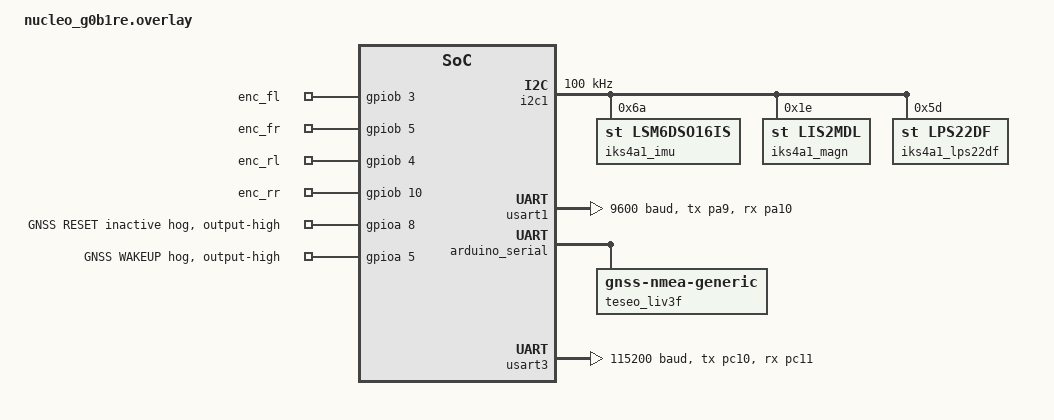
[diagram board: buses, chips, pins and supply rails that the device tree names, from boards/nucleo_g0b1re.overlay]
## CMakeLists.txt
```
cmake_minimum_required(VERSION 3.20.0)

list(APPEND ZEPHYR_EXTRA_MODULES
  ${CMAKE_CURRENT_SOURCE_DIR}/modules/micro_ros_zephyr_module/modules/libmicroros
)
find_package(Zephyr REQUIRED HINTS $ENV{ZEPHYR_BASE})
project(my_app)

zephyr_include_directories(
  ${CMAKE_BINARY_DIR}/zephyr/include/generated/zephyr
  ${CMAKE_CURRENT_SOURCE_DIR}/src
)
target_compile_definitions(app PRIVATE __STDC_WANT_LIB_EXT1__=0)

target_sources(app PRIVATE
  src/main.c
  src/RTOS.c
  src/positionManagement/Imu.c
  src/positionManagement/PositionOrientation.c
  src/DataCommunication/MicroRosNode.c
  src/DataCommunication/micro_ros_atomic64.c
  src/sensorManagement/lps22dfSensor.c
  src/speedMesurement/GlobalSpeed.c
  src/speedMesurement/rotaryEncoder.c
  src/speedControlSystem/GlobalControl.c
  src/speedControlSystem/closedLoopControl.c
  src/navigation/forwardKinematics.c
  src/navigation/mecanumOdometrie.c
)
```

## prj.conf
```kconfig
CONFIG_GPIO=y
CONFIG_SERIAL=y
CONFIG_CONSOLE=y

# Logging
CONFIG_LOG=n
CONFIG_PRINTK=y
CONFIG_BOOT_BANNER=n

CONFIG_SENSOR=y

# Configuration des capteurs de l'extension X-NUCLEO-IKS4A1
CONFIG_I2C=y
CONFIG_LSM6DSO16IS=y
CONFIG_LIS2MDL=y
CONFIG_LPS2XDF=y

# GNSS1A1 (Teseo-LIV3F, NMEA sur USART1)
CONFIG_UART_INTERRUPT_DRIVEN=y

# Sous-système GNSS Zephyr et parseur NMEA générique
CONFIG_GNSS=y
CONFIG_GNSS_NMEA_GENERIC=y

# micro-ROS Jazzy over USART3 to the ROS 2 agent on the SBC.
CONFIG_MICROROS=y
CONFIG_APP_LINK_WITH_MICROROS=y
CONFIG_MICROROS_TRANSPORT_SERIAL=y
CONFIG_MICROROS_NODES="1"
CONFIG_MICROROS_PUBLISHERS="6"
CONFIG_MICROROS_SUBSCRIBERS="1"
CONFIG_MICROROS_XRCE_DDS_MTU="512"
CONFIG_MICROROS_XRCE_DDS_HISTORIC="4"
CONFIG_MICROROS_RMW_HISTORIC="4"

CONFIG_UART_LINE_CTRL=y
CONFIG_POSIX_API=y
CONFIG_STATIC_INIT_GNU=y
```

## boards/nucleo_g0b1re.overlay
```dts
/*
 * Encodeurs rotatifs — 4 roues mecanum
 * PINS ARBITRAIRES : à adapter selon le câblage réel
 *   FL : PB3 (D3)  FR : PB5 (D4)
 *   RL : PB4 (D5)  RR : PB10 (D6)
 */
/ {
    wheel_encoders {
        compatible = "gpio-keys";
        enc_fl: encoder_fl { gpios = <&gpiob 3  (GPIO_ACTIVE_HIGH | GPIO_PULL_DOWN)>; };
        enc_fr: encoder_fr { gpios = <&gpiob 5  (GPIO_ACTIVE_HIGH | GPIO_PULL_DOWN)>; };
        enc_rl: encoder_rl { gpios = <&gpiob 4  (GPIO_ACTIVE_HIGH | GPIO_PULL_DOWN)>; };
        enc_rr: encoder_rr { gpios = <&gpiob 10 (GPIO_ACTIVE_HIGH | GPIO_PULL_DOWN)>; };
    };
};

&i2c1 {
    status = "okay";
    /* Force I2C to standard 100 kHz to avoid timing-related NACKs on some boards */
    clock-frequency = <I2C_BITRATE_STANDARD>;

    iks4a1_imu: lsm6dso16is@6a {
        compatible = "st,lsm6dso16is";
        reg = <0x6a>;
        accel-odr = <0x04>;
        gyro-odr = <0x04>;
    };

    iks4a1_magn: lis2mdl@1e {
        compatible = "st,lis2mdl";
        reg = <0x1e>;
    };

    iks4a1_lps22df: lps22df@5d {
        compatible = "st,lps22df";
        reg = <0x5d>;
        odr = <1>;
    };
};

/*
 * GNSS1A1 : cavaliers d'usine J3/J4, donc UART sur D8/D2 (PA9/PA10).
 */
&usart1 {
    pinctrl-0 = <&usart1_tx_pa9 &usart1_rx_pa10>;
    pinctrl-names = "default";
    current-speed = <9600>;
    parity = "none";
    stop-bits = "1";
    data-bits = <8>;
    status = "okay";
};

&arduino_serial {
    teseo_liv3f: gnss-nmea-generic {
        compatible = "gnss-nmea-generic";
        status = "okay";
    };
};

/*
 * Liaison micro-ROS vers l'agent ROS 2 sur le SBC Linux, via USART3.
 * Les broches PC10/PC11 doivent être raccordées au SBC (TX vers RX, RX vers TX).
 */
&usart3 {
    pinctrl-0 = <&usart3_tx_pc10 &usart3_rx_pc11>;
    pinctrl-names = "default";
    current-speed = <115200>;
    parity = "none";
    stop-bits = "1";
    data-bits = <8>;
    status = "okay";
};

/* D13/PA5 est aussi l'horloge SPI1 sur cette Nucleo : le GNSS utilise D13 pour WAKEUP. */
&spi1 {
    status = "disabled";
};

/*
 * Cavaliers GNSS1A1 par défaut : RESET sur D7 (PA8, actif bas) et WAKEUP
 * sur D13 (PA5, actif haut). D13 partage PA5 avec la LED utilisateur LD4.
 */
&gpioa {
    gnss_reset_inactive: gnss-reset-inactive {
        gpio-hog;
        gpios = <8 GPIO_ACTIVE_HIGH>;
        output-high;
        line-name = "GNSS RESET inactive";
    };

    gnss_wakeup: gnss-wakeup {
        gpio-hog;
        gpios = <5 GPIO_ACTIVE_HIGH>;
        output-high;
        line-name = "GNSS WAKEUP";
    };
};
```

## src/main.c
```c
#include <zephyr/kernel.h>
#include <zephyr/logging/log.h>

LOG_MODULE_REGISTER(g0b1re, LOG_LEVEL_INF);

int main(void)
{
    LOG_INF("Booting Zephyr OS\n");

    // if (!gpio_is_ready_dt(&led)) {
    //     LOG_ERR("LED GPIO device not ready (devicetree node?)");
    //     return -1;
    // }

    // int rc = gpio_pin_configure_dt(&led, GPIO_OUTPUT_INACTIVE);
    // LOG_INF("gpio_pin_configure_dt -> %d", rc);
    // if (rc != 0) {
    //     LOG_ERR("Failed to configure LED pin");
    //     return -1;
    // }

    // gpio_is_ready_dt(&led);
    // gpio_pin_configure_dt(&led, GPIO_OUTPUT_INACTIVE);

    // k_thread_start(task1_id);
    // k_thread_start(task2_id);
    // k_thread_start(bme_id);

    return 0;
}
```

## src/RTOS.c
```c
#include <zephyr/kernel.h>
#include <zephyr/logging/log.h>
#include <zephyr/drivers/gnss.h>
#include <zephyr/device.h>
#include <zephyr/sys/printk.h>
#include <string.h>
#include "RTOS.h"
#include "positionManagement/PositionOrientation.h"
#include "sensorManagement/lps22dfSensor.h"
#include "speedMesurement/GlobalSpeed.h"
#include "speedControlSystem/GlobalControl.h"
#include "navigation/forwardKinematics.h"
#include "navigation/mecanumOdometrie.h"
#include "DataCommunication/MicroRosNode.h"

LOG_MODULE_DECLARE(g0b1re, LOG_LEVEL_INF);

/* Vitesses mesurées partagées entre speedMesurementTask et MotorRegulationTask */
static K_MUTEX_DEFINE(speed_mutex);
static float fMesuredWheelSpeed[4] = {0.0f, 0.0f, 0.0f, 0.0f};

/* Dernière commande Twist reçue par micro-ROS, partagée avec la régulation. */
static K_MUTEX_DEFINE(gnss_data_mutex);
static struct gnss_data latest_gnss_sample;
static bool gnss_sample_available;

static void gnss_debug_print_latest(void);

/* ── Robot communication task ───────────────────────────────────────── */
void RobotCommunicationTask(void *p1, void *p2, void *p3)
{
    ARG_UNUSED(p1);
    ARG_UNUSED(p2);
    ARG_UNUSED(p3);

    MicroRosNode_run();
}

/* ── Régulation moteur (20 Hz) ──────────────────────────────────────── */
void MotorRegulationTask(void *p1, void *p2, void *p3)
{
    static GlobalControl       tGlobalControl;
    static forwardKinematics_t tForwardKinematics;
    static MecanumOdometry_t   tOdometry;

    GlobalControl_init(&tGlobalControl);

    tForwardKinematics.vx            = 0;
    tForwardKinematics.vy            = 0;
    tForwardKinematics.omega         = 0;
    tForwardKinematics.geometricFactor = 1.0f; /* à ajuster : (L+W)/2 en unités normalisées */

    MecanumOdometry_init(&tOdometry, 0.039f, 0.20f, 0.18f); /* rayon roue, wheelBase, trackWidth */

    float fSetpointNorm[4] = {0.0f, 0.0f, 0.0f, 0.0f};
    float fPIDOutput[4]    = {0.0f, 0.0f, 0.0f, 0.0f};
    float fMesuredLocal[4] = {0.0f, 0.0f, 0.0f, 0.0f};

    while (1) {
        /* Cinématique directe : consigne Twist du SBC → vitesses normalisées roues. */
        float linear_x;
        float linear_y;
        float angular_z;
        RobotCommunication_getCommand(&linear_x, &linear_y, &angular_z);
        tForwardKinematics.vx = (int)(linear_x * 100.0f);
        tForwardKinematics.vy = (int)(linear_y * 100.0f);
        tForwardKinematics.omega = (int)(angular_z * 100.0f);

        ForwardKinematics_computeWheelVelocities(&tForwardKinematics, fSetpointNorm);

        /* Lecture thread-safe des vitesses mesurées par les encodeurs */
        k_mutex_lock(&speed_mutex, K_FOREVER);
        for (int i = 0; i < 4; i++) fMesuredLocal[i] = fMesuredWheelSpeed[i];
        k_mutex_unlock(&speed_mutex);

        /* Asservissement PID */
        GlobalControl_UpdateSetpoint(&tGlobalControl, fSetpointNorm, fMesuredLocal, fPIDOutput);

        /* TODO: MovementController_setMovement(fPIDOutput) → commande PWM moteurs */

        /* Odométrie */
        MecanumOdometry_updateWheelSpeeds(&tOdometry, fMesuredLocal);

        k_sleep(K_MSEC(50)); /* 20 Hz */
    }
}

/* ── Mesure vitesse encodeurs (10 Hz) ───────────────────────────────── */
void speedMesurementTask(void *p1, void *p2, void *p3)
{
    GlobalSpeed_init();

    float speeds[4];
    while (1) {
        k_sleep(K_MSEC(SPEED_MESUREMENT_PERIOD_MS));
        GlobalSpeed_getMeanSpeedInRPM(speeds, SPEED_MESUREMENT_PERIOD_MS);

        k_mutex_lock(&speed_mutex, K_FOREVER);
        for (int i = 0; i < 4; i++) fMesuredWheelSpeed[i] = speeds[i];
        k_mutex_unlock(&speed_mutex);
    }
}

/* ── IMU (configurable) ─────────────────────────────────────────────── */
void IMUTask(void *p1, void *p2, void *p3)
{
    PositionOrientation_init();
    lps22dfSensor_init();

    int64_t last_ms = k_uptime_get();
    while (1) {
        int64_t now_ms = k_uptime_get();
        float dt = (float)(now_ms - last_ms) / 1000.0f;
        last_ms = now_ms;

        PositionOrientation_update(dt);
        Imu_SerialDebug();
        lps22dfSensor_debug();
        gnss_debug_print_latest();

        k_sleep(K_MSEC(2000));
    }
}

/* ── GNSS ───────────────────────────────────────────────────────────── */
K_MSGQ_DEFINE(gnss_msgq, sizeof(struct gnss_data), 8, 4);

static const struct device *const gnss_dev =
    DEVICE_DT_GET(DT_NODELABEL(teseo_liv3f));

static const char *gnss_fix_status_name(enum gnss_fix_status status)
{
    switch (status) {
    case GNSS_FIX_STATUS_NO_FIX:
        return "NO_FIX";
    case GNSS_FIX_STATUS_GNSS_FIX:
        return "GNSS_FIX";
    case GNSS_FIX_STATUS_DGNSS_FIX:
        return "DGNSS_FIX";
    case GNSS_FIX_STATUS_ESTIMATED_FIX:
        return "ESTIMATED";
    default:
        return "UNKNOWN";
    }
}

void gnss_task(void *a, void *b, void *c)
{
    if (!device_is_ready(gnss_dev)) {
        LOG_ERR("X-NUCLEO-GNSS1A1 Teseo-LIV3F not ready");
        return;
    }
    LOG_DBG("X-NUCLEO-GNSS1A1 Teseo-LIV3F ready; waiting for NMEA data");

    struct gnss_data sample;
    while (1) {
        int ret = k_msgq_get(&gnss_msgq, &sample, K_FOREVER);
        if (ret == 0) {
            k_mutex_lock(&gnss_data_mutex, K_FOREVER);
            latest_gnss_sample = sample;
            gnss_sample_available = true;
            k_mutex_unlock(&gnss_data_mutex);
        }
    }
}

bool RTOS_getGnssSample(struct gnss_data *sample)
{
    if (sample == NULL) {
        return false;
    }

    k_mutex_lock(&gnss_data_mutex, K_FOREVER);
    bool available = gnss_sample_available;
    if (available) {
        *sample = latest_gnss_sample;
    }
    k_mutex_unlock(&gnss_data_mutex);

    return available;
}

void RTOS_getWheelSpeeds(float speeds[4])
{
    if (speeds == NULL) {
        return;
    }

    k_mutex_lock(&speed_mutex, K_FOREVER);
    memcpy(speeds, fMesuredWheelSpeed, sizeof(fMesuredWheelSpeed));
    k_mutex_unlock(&speed_mutex);
}

static void gnss_debug_print_latest(void)
{
    struct gnss_data sample;
    bool available;

    k_mutex_lock(&gnss_data_mutex, K_FOREVER);
    sample = latest_gnss_sample;
    available = gnss_sample_available;
    k_mutex_unlock(&gnss_data_mutex);

    if (!available) {
        printk("GNSS: waiting for NMEA data\r\n");
        return;
    }

    int64_t latitude = sample.nav_data.latitude;
    int64_t longitude = sample.nav_data.longitude;
    uint64_t abs_latitude = latitude < 0
        ? (uint64_t)(-(latitude + 1)) + 1U : (uint64_t)latitude;
    uint64_t abs_longitude = longitude < 0
        ? (uint64_t)(-(longitude + 1)) + 1U : (uint64_t)longitude;

    printk("GNSS fix=%s quality=%d sats=%u "
        "lat=%s%llu.%09llu lon=%s%llu.%09llu deg alt=%d mm",
        gnss_fix_status_name(sample.info.fix_status),
        sample.info.fix_quality,
        sample.info.satellites_cnt,
        latitude < 0 ? "-" : "",
        (unsigned long long)(abs_latitude / 1000000000U),
        (unsigned long long)(abs_latitude % 1000000000U),
        longitude < 0 ? "-" : "",
        (unsigned long long)(abs_longitude / 1000000000U),
        (unsigned long long)(abs_longitude % 1000000000U),
        sample.nav_data.altitude);
    printk("\r\n");
}

static void gnss_data_cb(const struct device *dev, const struct gnss_data *data)
{
    if (!data) { return; }
    if (k_msgq_put(&gnss_msgq, (void *)data, K_NO_WAIT) != 0) {
        LOG_WRN("GNSS msgq full, dropping sample");
    }
}

GNSS_DT_DATA_CALLBACK_DEFINE(DT_NODELABEL(teseo_liv3f), gnss_data_cb);

K_THREAD_DEFINE(motor_regulation_id, 2048, MotorRegulationTask, NULL, NULL, NULL, 3, 0, 0);
K_THREAD_DEFINE(speed_mesurement_id, 1024, speedMesurementTask,  NULL, NULL, NULL, 5, 0, 0);
K_THREAD_DEFINE(imu_task_id,         1024, IMUTask,              NULL, NULL, NULL, 5, 0, 0);
K_THREAD_DEFINE(gnss_id,             1024, gnss_task,            NULL, NULL, NULL, 4, 0, 0);
K_THREAD_DEFINE(robot_communication_task_id, 8192, RobotCommunicationTask,
                NULL, NULL, NULL, 4, 0, 0);
```

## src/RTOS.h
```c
#ifndef RTOS_H
#define RTOS_H

#include <stdbool.h>
#include <zephyr/kernel.h>
#include <zephyr/drivers/gnss.h>

/* Zephyr task entry points are implemented in RTOS.c. */
void MotorRegulationTask(void *p1, void *p2, void *p3);
void speedMesurementTask(void *p1, void *p2, void *p3);
void IMUTask(void *p1, void *p2, void *p3);
void gnss_task(void *p1, void *p2, void *p3);
void RobotCommunicationTask(void *p1, void *p2, void *p3);
bool RTOS_getGnssSample(struct gnss_data *sample);
void RTOS_getWheelSpeeds(float speeds[4]);

#endif /* RTOS_H */
```
